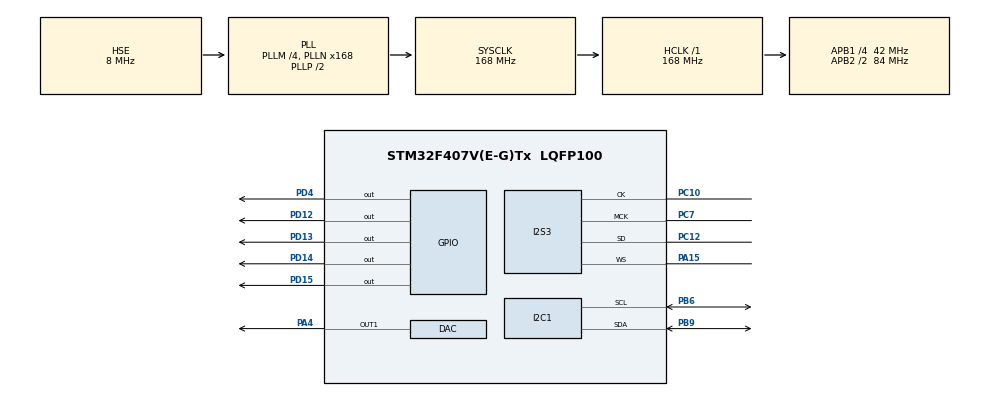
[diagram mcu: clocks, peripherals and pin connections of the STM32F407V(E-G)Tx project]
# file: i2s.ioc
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Dma.Request0=SPI3_TX
Dma.SPI3_TX.0.Direction=DMA_MEMORY_TO_PERIPH
Dma.SPI3_TX.0.FIFOMode=DMA_FIFOMODE_ENABLE
Dma.SPI3_TX.0.FIFOThreshold=DMA_FIFO_THRESHOLD_FULL
Dma.SPI3_TX.0.Instance=DMA1_Stream5
Dma.SPI3_TX.0.MemBurst=DMA_MBURST_SINGLE
Dma.SPI3_TX.0.MemDataAlignment=DMA_MDATAALIGN_HALFWORD
Dma.SPI3_TX.0.MemInc=DMA_MINC_ENABLE
Dma.SPI3_TX.0.Mode=DMA_CIRCULAR
Dma.SPI3_TX.0.PeriphBurst=DMA_PBURST_SINGLE
Dma.SPI3_TX.0.PeriphDataAlignment=DMA_PDATAALIGN_HALFWORD
Dma.SPI3_TX.0.PeriphInc=DMA_PINC_DISABLE
Dma.SPI3_TX.0.Priority=DMA_PRIORITY_LOW
I2S3.AudioFreq=I2S_AUDIOFREQ_48K
I2S3.ErrorAudioFreq=1.72 %
I2S3.FullDuplexMode=I2S_FULLDUPLEXMODE_DISABLE
I2S3.Instance=SPI$Index
I2S3.RealAudioFreq=48.828 KHz
I2S3.VirtualMode=I2S_MODE_MASTER
Mcu.Family=STM32F4
Mcu.Name=STM32F407V(E-G)Tx
Mcu.Package=LQFP100
NVIC.DMA1_Stream5_IRQn=true\:0\:0\:false\:false\:true\:false
NVIC.PriorityGroup=NVIC_PRIORITYGROUP_4
NVIC.TIM2_IRQn=true\:0\:0\:false\:false\:true\:true
PA15.Mode=Half_Duplex_Master
PA15.Signal=I2S3_WS
PA4.Signal=COMP_DAC1_group
PB6.Mode=I2C
PB6.Signal=I2C1_SCL
PB9.Mode=I2C
PB9.Signal=I2C1_SDA
PC10.Mode=Half_Duplex_Master
PC10.Signal=I2S3_CK
PC12.Mode=Half_Duplex_Master
PC12.Signal=I2S3_SD
PC7.Mode=Master_Clock_Activated
PC7.Signal=I2S3_MCK
PD12.Signal=GPIO_Output
PD13.Signal=GPIO_Output
PD14.Signal=GPIO_Output
PD15.Signal=GPIO_Output
PD4.Signal=GPIO_Output
PH0-OSC_IN.Mode=HSE-External-Oscillator
PH0-OSC_IN.Signal=RCC_OSC_IN
PH1-OSC_OUT.Mode=HSE-External-Oscillator
PH1-OSC_OUT.Signal=RCC_OSC_OUT
ProjectManager.HeapSize=0x200
ProjectManager.StackSize=0x400
ProjectManager.TargetToolchain=SW4STM32
RCC.48MHZClocksFreq_Value=84000000
RCC.AHBFreq_Value=168000000
RCC.APB1CLKDivider=RCC_HCLK_DIV4
RCC.APB1Freq_Value=42000000
RCC.APB1TimFreq_Value=84000000
RCC.APB2CLKDivider=RCC_HCLK_DIV2
RCC.APB2Freq_Value=84000000
RCC.APB2TimFreq_Value=168000000
RCC.CortexFreq_Value=168000000
RCC.HCLKFreq_Value=168000000
RCC.HSE_VALUE=8000000
RCC.HSI_VALUE=16000000
RCC.LSE_VALUE=32768
RCC.PLLI2SN=50
RCC.PLLM=4
RCC.PLLN=168
RCC.PLLSourceVirtual=RCC_PLLSOURCE_HSE
RCC.SYSCLKFreq_VALUE=168000000
RCC.SYSCLKSource=RCC_SYSCLKSOURCE_PLLCLK
RCC.VCOOutputFreq_Value=336000000
SH.COMP_DAC1_group.0=DAC_OUT1,DAC_OUT1
TIM2.Period=20-1
TIM2.Prescaler=84-1
TIM2.TIM_MasterOutputTrigger=TIM_TRGO_UPDATE
VP_TIM2_VS_ClockSourceINT.Mode=Internal
board=custom

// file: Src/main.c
/**
  ******************************************************************************
  * @file           : main.c
  * @brief          : Main program body
  ******************************************************************************
  ** This notice applies to any and all portions of this file
  * that are not between comment pairs USER CODE BEGIN and
  * USER CODE END. Other portions of this file, whether
  * inserted by the user or by software development tools
  * are owned by their respective copyright owners.
  *
  * COPYRIGHT(c) 2019 STMicroelectronics
  *
  * Redistribution and use in source and binary forms, with or without modification,
  * are permitted provided that the following conditions are met:
  *   1. Redistributions of source code must retain the above copyright notice,
  *      this list of conditions and the following disclaimer.
  *   2. Redistributions in binary form must reproduce the above copyright notice,
  *      this list of conditions and the following disclaimer in the documentation
  *      and/or other materials provided with the distribution.
  *   3. Neither the name of STMicroelectronics nor the names of its contributors
  *      may be used to endorse or promote products derived from this software
  *      without specific prior written permission.
  *
  * THIS SOFTWARE IS PROVIDED BY THE COPYRIGHT HOLDERS AND CONTRIBUTORS "AS IS"
  * AND ANY EXPRESS OR IMPLIED WARRANTIES, INCLUDING, BUT NOT LIMITED TO, THE
  * IMPLIED WARRANTIES OF MERCHANTABILITY AND FITNESS FOR A PARTICULAR PURPOSE ARE
  * DISCLAIMED. IN NO EVENT SHALL THE COPYRIGHT HOLDER OR CONTRIBUTORS BE LIABLE
  * FOR ANY DIRECT, INDIRECT, INCIDENTAL, SPECIAL, EXEMPLARY, OR CONSEQUENTIAL
  * DAMAGES (INCLUDING, BUT NOT LIMITED TO, PROCUREMENT OF SUBSTITUTE GOODS OR
  * SERVICES; LOSS OF USE, DATA, OR PROFITS; OR BUSINESS INTERRUPTION) HOWEVER
  * CAUSED AND ON ANY THEORY OF LIABILITY, WHETHER IN CONTRACT, STRICT LIABILITY,
  * OR TORT (INCLUDING NEGLIGENCE OR OTHERWISE) ARISING IN ANY WAY OUT OF THE USE
  * OF THIS SOFTWARE, EVEN IF ADVISED OF THE POSSIBILITY OF SUCH DAMAGE.
  *
  ******************************************************************************
  */
#include "main.h"
#include "stm32f4xx_hal.h"

/* USER CODE BEGIN Includes */
#include "MY_CS43L22.h"
#include <math.h>
/* USER CODE END Includes */

DAC_HandleTypeDef hdac;

I2C_HandleTypeDef hi2c1;

I2S_HandleTypeDef hi2s3;
DMA_HandleTypeDef hdma_spi3_tx;

TIM_HandleTypeDef htim2;

/* USER CODE BEGIN PV */
/* Private variables ---------------------------------------------------------*/
#define PI 3.14159f

//Sample rate and Output freq
#define F_SAMPLE		50000.0f
#define F_OUT			1000.0f
/* USER CODE END PV */

void SystemClock_Config(void);
static void MX_GPIO_Init(void);
static void MX_DMA_Init(void);
static void MX_I2C1_Init(void);
static void MX_I2S3_Init(void);
static void MX_DAC_Init(void);
static void MX_TIM2_Init(void);

/* USER CODE BEGIN PFP */
/* Private function prototypes -----------------------------------------------*/

/* USER CODE END PFP */

/* USER CODE BEGIN 0 */
float mySinVal;
float sample_dt;
uint16_t sample_N;
uint16_t i_t;

uint32_t myDacVal;

int16_t I2S_dummy[4];
/* USER CODE END 0 */

int main(void)
{
  /* USER CODE BEGIN 1 */
	sample_dt = F_OUT/F_SAMPLE;
	sample_N = F_SAMPLE/F_OUT;
  /* USER CODE END 1 */

  /* MCU Configuration----------------------------------------------------------*/

  /* Reset of all peripherals, Initializes the Flash interface and the Systick. */
  HAL_Init();

  /* Configure the system clock */
  SystemClock_Config();

  /* Initialize all configured peripherals */
  MX_GPIO_Init();
  MX_DMA_Init();
  MX_I2C1_Init();
  MX_I2S3_Init();
  MX_DAC_Init();
  MX_TIM2_Init();
  /* USER CODE BEGIN 2 */

  CS43_Init(hi2c1, MODE_ANALOG); // inicjalizacja interfejsu
  CS43_SetVolume(20); // ustawienie g³oœnoœci
  CS43_Enable_RightLeft(CS43_RIGHT_LEFT); // uaktywnienie obydwu kana³ów
  CS43_Start(); // start

  HAL_I2S_Transmit_DMA(&hi2s3, (uint16_t *)I2S_dummy, 4);

  HAL_DAC_Start(&hdac, DAC_CHANNEL_1); // start DAC

  HAL_TIM_Base_Start_IT(&htim2); // start TIMER

  /* USER CODE END 2 */

  /* Infinite loop */
  while (1)
  {

  }

}

void SystemClock_Config(void)
{

  RCC_OscInitTypeDef RCC_OscInitStruct;
  RCC_ClkInitTypeDef RCC_ClkInitStruct;
  RCC_PeriphCLKInitTypeDef PeriphClkInitStruct;

    /**Configure the main internal regulator output voltage
    */
  __HAL_RCC_PWR_CLK_ENABLE();

  __HAL_PWR_VOLTAGESCALING_CONFIG(PWR_REGULATOR_VOLTAGE_SCALE1);

    /**Initializes the CPU, AHB and APB busses clocks
    */
  RCC_OscInitStruct.OscillatorType = RCC_OSCILLATORTYPE_HSE;
  RCC_OscInitStruct.HSEState = RCC_HSE_ON;
  RCC_OscInitStruct.PLL.PLLState = RCC_PLL_ON;
  RCC_OscInitStruct.PLL.PLLSource = RCC_PLLSOURCE_HSE;
  RCC_OscInitStruct.PLL.PLLM = 4;
  RCC_OscInitStruct.PLL.PLLN = 168;
  RCC_OscInitStruct.PLL.PLLP = RCC_PLLP_DIV2;
  RCC_OscInitStruct.PLL.PLLQ = 4;
  if (HAL_RCC_OscConfig(&RCC_OscInitStruct) != HAL_OK)
  {
    _Error_Handler(__FILE__, __LINE__);
  }

    /**Initializes the CPU, AHB and APB busses clocks
    */
  RCC_ClkInitStruct.ClockType = RCC_CLOCKTYPE_HCLK|RCC_CLOCKTYPE_SYSCLK
                              |RCC_CLOCKTYPE_PCLK1|RCC_CLOCKTYPE_PCLK2;
  RCC_ClkInitStruct.SYSCLKSource = RCC_SYSCLKSOURCE_PLLCLK;
  RCC_ClkInitStruct.AHBCLKDivider = RCC_SYSCLK_DIV1;
  RCC_ClkInitStruct.APB1CLKDivider = RCC_HCLK_DIV4;
  RCC_ClkInitStruct.APB2CLKDivider = RCC_HCLK_DIV2;

  if (HAL_RCC_ClockConfig(&RCC_ClkInitStruct, FLASH_LATENCY_5) != HAL_OK)
  {
    _Error_Handler(__FILE__, __LINE__);
  }

  PeriphClkInitStruct.PeriphClockSelection = RCC_PERIPHCLK_I2S;
  PeriphClkInitStruct.PLLI2S.PLLI2SN = 50;
  PeriphClkInitStruct.PLLI2S.PLLI2SR = 2;
  if (HAL_RCCEx_PeriphCLKConfig(&PeriphClkInitStruct) != HAL_OK)
  {
    _Error_Handler(__FILE__, __LINE__);
  }

    /**Configure the Systick interrupt time
    */
  HAL_SYSTICK_Config(HAL_RCC_GetHCLKFreq()/1000);

    /**Configure the Systick
    */
  HAL_SYSTICK_CLKSourceConfig(SYSTICK_CLKSOURCE_HCLK);

  /* SysTick_IRQn interrupt configuration */
  HAL_NVIC_SetPriority(SysTick_IRQn, 0, 0);
}

/* DAC init function */
static void MX_DAC_Init(void)
{

  DAC_ChannelConfTypeDef sConfig;

    /**DAC Initialization
    */
  hdac.Instance = DAC;
  if (HAL_DAC_Init(&hdac) != HAL_OK)
  {
    _Error_Handler(__FILE__, __LINE__);
  }

    /**DAC channel OUT1 config
    */
  sConfig.DAC_Trigger = DAC_TRIGGER_NONE;
  sConfig.DAC_OutputBuffer = DAC_OUTPUTBUFFER_ENABLE;
  if (HAL_DAC_ConfigChannel(&hdac, &sConfig, DAC_CHANNEL_1) != HAL_OK)
  {
    _Error_Handler(__FILE__, __LINE__);
  }

}

/* I2C1 init function */
static void MX_I2C1_Init(void)
{

  hi2c1.Instance = I2C1;
  hi2c1.Init.ClockSpeed = 100000;
  hi2c1.Init.DutyCycle = I2C_DUTYCYCLE_2;
  hi2c1.Init.OwnAddress1 = 0;
  hi2c1.Init.AddressingMode = I2C_ADDRESSINGMODE_7BIT;
  hi2c1.Init.DualAddressMode = I2C_DUALADDRESS_DISABLE;
  hi2c1.Init.OwnAddress2 = 0;
  hi2c1.Init.GeneralCallMode = I2C_GENERALCALL_DISABLE;
  hi2c1.Init.NoStretchMode = I2C_NOSTRETCH_DISABLE;
  if (HAL_I2C_Init(&hi2c1) != HAL_OK)
  {
    _Error_Handler(__FILE__, __LINE__);
  }

}

/* I2S3 init function */
static void MX_I2S3_Init(void)
{

  hi2s3.Instance = SPI3;
  hi2s3.Init.Mode = I2S_MODE_MASTER_TX;
  hi2s3.Init.Standard = I2S_STANDARD_PHILIPS;
  hi2s3.Init.DataFormat = I2S_DATAFORMAT_16B;
  hi2s3.Init.MCLKOutput = I2S_MCLKOUTPUT_ENABLE;
  hi2s3.Init.AudioFreq = I2S_AUDIOFREQ_48K;
  hi2s3.Init.CPOL = I2S_CPOL_LOW;
  hi2s3.Init.ClockSource = I2S_CLOCK_PLL;
  hi2s3.Init.FullDuplexMode = I2S_FULLDUPLEXMODE_DISABLE;
  if (HAL_I2S_Init(&hi2s3) != HAL_OK)
  {
    _Error_Handler(__FILE__, __LINE__);
  }

}

/* TIM2 init function */
static void MX_TIM2_Init(void)
{

  TIM_ClockConfigTypeDef sClockSourceConfig;
  TIM_MasterConfigTypeDef sMasterConfig;

  htim2.Instance = TIM2;
  htim2.Init.Prescaler = 84-1;
  htim2.Init.CounterMode = TIM_COUNTERMODE_UP;
  htim2.Init.Period = 20-1;
  htim2.Init.ClockDivision = TIM_CLOCKDIVISION_DIV1;
  if (HAL_TIM_Base_Init(&htim2) != HAL_OK)
  {
    _Error_Handler(__FILE__, __LINE__);
  }

  sClockSourceConfig.ClockSource = TIM_CLOCKSOURCE_INTERNAL;
  if (HAL_TIM_ConfigClockSource(&htim2, &sClockSourceConfig) != HAL_OK)
  {
    _Error_Handler(__FILE__, __LINE__);
  }

  sMasterConfig.MasterOutputTrigger = TIM_TRGO_UPDATE;
  sMasterConfig.MasterSlaveMode = TIM_MASTERSLAVEMODE_DISABLE;
  if (HAL_TIMEx_MasterConfigSynchronization(&htim2, &sMasterConfig) != HAL_OK)
  {
    _Error_Handler(__FILE__, __LINE__);
  }

}

static void MX_DMA_Init(void)
{
  /* DMA controller clock enable */
  __HAL_RCC_DMA1_CLK_ENABLE();

  /* DMA interrupt init */
  /* DMA1_Stream5_IRQn interrupt configuration */
  HAL_NVIC_SetPriority(DMA1_Stream5_IRQn, 0, 0);
  HAL_NVIC_EnableIRQ(DMA1_Stream5_IRQn);

}

/** Configure pins as
        * Analog
        * Input
        * Output
        * EVENT_OUT
        * EXTI
*/
static void MX_GPIO_Init(void)
{

  GPIO_InitTypeDef GPIO_InitStruct;

  /* GPIO Ports Clock Enable */
  __HAL_RCC_GPIOH_CLK_ENABLE();
  __HAL_RCC_GPIOA_CLK_ENABLE();
  __HAL_RCC_GPIOD_CLK_ENABLE();
  __HAL_RCC_GPIOC_CLK_ENABLE();
  __HAL_RCC_GPIOB_CLK_ENABLE();

  /*Configure GPIO pin Output Level */
  HAL_GPIO_WritePin(GPIOD, GPIO_PIN_12|GPIO_PIN_13|GPIO_PIN_14|GPIO_PIN_15
                          |GPIO_PIN_4, GPIO_PIN_RESET);

  /*Configure GPIO pins : PD12 PD13 PD14 PD15
                           PD4 */
  GPIO_InitStruct.Pin = GPIO_PIN_12|GPIO_PIN_13|GPIO_PIN_14|GPIO_PIN_15
                          |GPIO_PIN_4;
  GPIO_InitStruct.Mode = GPIO_MODE_OUTPUT_PP;
  GPIO_InitStruct.Pull = GPIO_NOPULL;
  GPIO_InitStruct.Speed = GPIO_SPEED_FREQ_LOW;
  HAL_GPIO_Init(GPIOD, &GPIO_InitStruct);

}

/* USER CODE BEGIN 4 */
void HAL_TIM_PeriodElapsedCallback(TIM_HandleTypeDef *htim)
{
  /* Prevent unused argument(s) compilation warning */
  UNUSED(htim);
  /* NOTE : This function Should not be modified, when the callback is needed,
            the __HAL_TIM_PeriodElapsedCallback could be implemented in the user file
   */

	if(htim->Instance == TIM2)
	{
		mySinVal = sinf(i_t * 2 * PI * sample_dt);
		//Convert from float to decimal
		myDacVal = (mySinVal + 1)*127;
		//Output the sample to the STM DAC
		HAL_DAC_SetValue(&hdac, DAC_CHANNEL_1, DAC_ALIGN_8B_R, myDacVal);

		i_t++;
		if(i_t>= sample_N) i_t = 0;
	}

}
/* USER CODE END 4 */

void _Error_Handler(char *file, int line)
{
  while(1)
  {
  }
}

/************************ (C) COPYRIGHT STMicroelectronics *****END OF FILE****/
